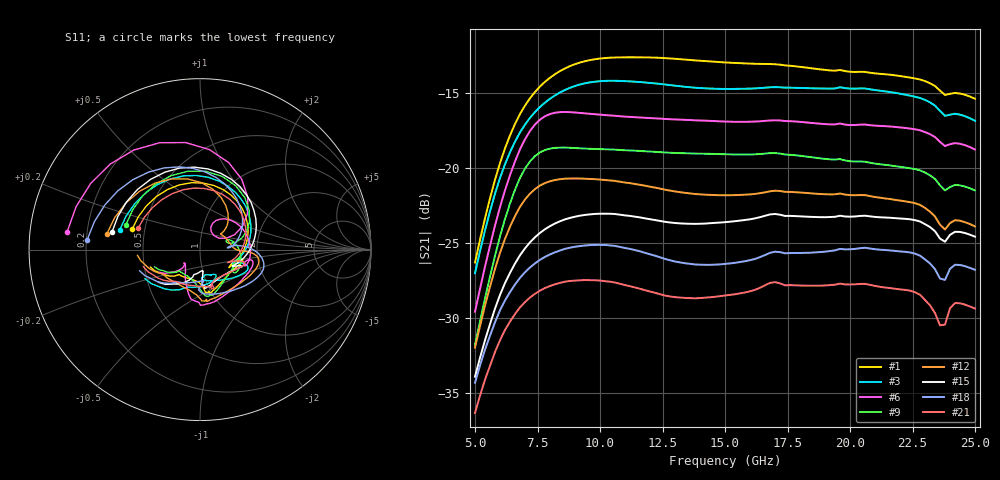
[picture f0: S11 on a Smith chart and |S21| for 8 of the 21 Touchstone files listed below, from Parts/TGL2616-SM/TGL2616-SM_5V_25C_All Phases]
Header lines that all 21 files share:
!Date = 2/3/2014
!Test duration(min) = 0.07
!Test = SPars
!MPTS version = 7.120.8
!Comments =
!test = SPars
!VREF(V) = 5.000
# GHz  S  DB  R  50
!%	Freq(GHz)  S11(dB)  S11(deg)  S21(dB)  S21(deg)  S12(dB)  S12(deg)  S22(dB)  S22(deg)
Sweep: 5 GHz to 25 GHz
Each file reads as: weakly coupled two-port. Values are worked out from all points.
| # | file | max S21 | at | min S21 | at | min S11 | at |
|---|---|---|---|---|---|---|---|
| 1 | SN03_25C_5V_Phase11.s2p | -12.64 dB | 11.2 GHz | -26.3 dB | 5 GHz | -14.9 dB | 22.8 GHz |
| 2 | SN03_25C_5V_Phase12.s2p | -13.31 dB | 10.6 GHz | -25.8 dB | 5 GHz | -15.4 dB | 10.6 GHz |
| 3 | SN03_25C_5V_Phase13.s2p | -14.21 dB | 10.4 GHz | -27.0 dB | 5 GHz | -16.4 dB | 20 GHz |
| 4 | SN03_25C_5V_Phase14.s2p | -14.71 dB | 10.4 GHz | -26.9 dB | 5 GHz | -17.1 dB | 10.4 GHz |
| 5 | SN03_25C_5V_Phase15.s2p | -15.62 dB | 10.4 GHz | -28.0 dB | 5 GHz | -14.7 dB | 11.2 GHz |
| 6 | SN03_25C_5V_Phase16.s2p | -16.29 dB | 8.6 GHz | -29.6 dB | 5 GHz | -18.8 dB | 8.2 GHz |
| 7 | SN03_25C_5V_Phase17.s2p | -17.27 dB | 8.4 GHz | -30.9 dB | 5 GHz | -18.9 dB | 22.8 GHz |
| 8 | SN03_25C_5V_Phase18.s2p | -17.69 dB | 8.6 GHz | -30.7 dB | 5 GHz | -19.7 dB | 8.2 GHz |
| 9 | SN03_25C_5V_Phase19.s2p | -18.66 dB | 8.6 GHz | -31.8 dB | 5 GHz | -15.9 dB | 8.6 GHz |
| 10 | SN03_25C_5V_Phase20.s2p | -19.34 dB | 9 GHz | -30.9 dB | 5 GHz | -14.7 dB | 22 GHz |
| 11 | SN03_25C_5V_Phase21.s2p | -20.27 dB | 8.8 GHz | -32.1 dB | 5 GHz | -15.8 dB | 19.8 GHz |
| 12 | SN03_25C_5V_Phase22.s2p | -20.73 dB | 9 GHz | -32.0 dB | 5 GHz | -16.4 dB | 8.8 GHz |
| 13 | SN03_25C_5V_Phase23.s2p | -21.66 dB | 8.8 GHz | -33.1 dB | 5 GHz | -14.2 dB | 9.4 GHz |
| 14 | SN03_25C_5V_Phase24.s2p | -22.18 dB | 10.4 GHz | -32.8 dB | 5 GHz | -18.3 dB | 22.8 GHz |
| 15 | SN03_25C_5V_Phase25.s2p | -23.07 dB | 10 GHz | -33.9 dB | 5 GHz | -18.1 dB | 22.6 GHz |
| 16 | SN03_25C_5V_Phase26.s2p | -23.60 dB | 10 GHz | -33.8 dB | 5 GHz | -16.8 dB | 10.6 GHz |
| 17 | SN03_25C_5V_Phase27.s2p | -24.51 dB | 10 GHz | -34.9 dB | 5 GHz | -15.2 dB | 22.8 GHz |
| 18 | SN03_25C_5V_Phase28.s2p | -25.15 dB | 10 GHz | -34.3 dB | 5 GHz | -15.9 dB | 10.4 GHz |
| 19 | SN03_25C_5V_Phase29.s2p | -25.93 dB | 20.6 GHz | -35.4 dB | 5 GHz | -16.1 dB | 19.8 GHz |
| 20 | SN03_25C_5V_Phase30.s2p | -26.58 dB | 9.8 GHz | -35.4 dB | 5 GHz | -17.5 dB | 10.4 GHz |
| 21 | SN03_25C_5V_Phase31.s2p | -27.50 dB | 9.4 GHz | -36.4 dB | 5 GHz | -14.9 dB | 11.2 GHz |
